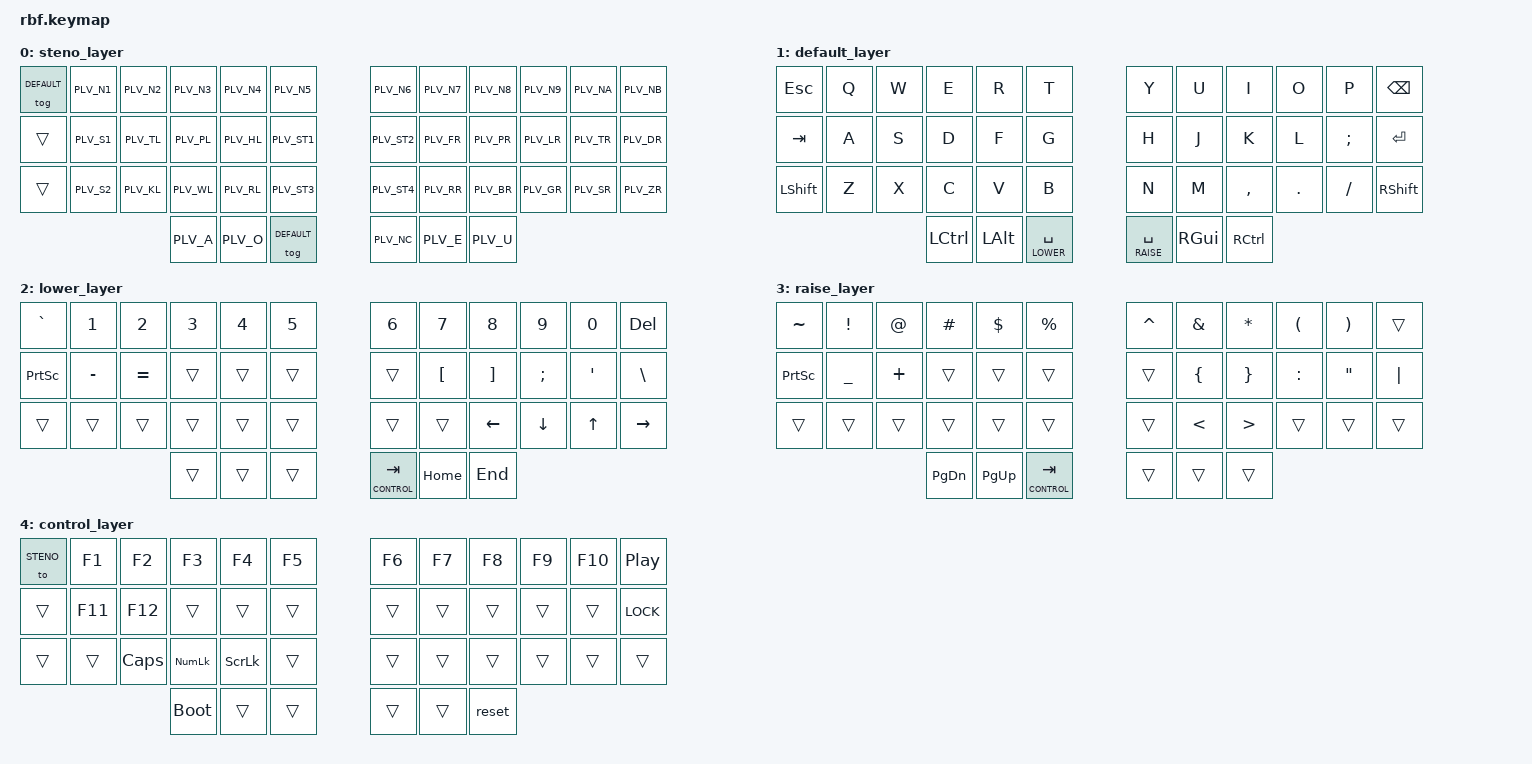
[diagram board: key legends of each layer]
/*
 * Copyright (c) 2021 The ZMK Contributors
 *
 * SPDX-License-Identifier: MIT
 */
#include <behaviors.dtsi>
#include <dt-bindings/zmk/keys.h>
// #include <dt-bindings/zmk/outputs.h>

#define STENO 0
#define DEFAULT 1
#define LOWER   2
#define RAISE   3
#define CONTROL 4

// #define DEFAULT 0
// #define LOWER   1
// #define RAISE   2
// #define CONTROL 3

/ {
	keymap {
		compatible = "zmk,keymap";
// 		    | SW1  | SW2  | SW3  | SW4  | SW5  | SW6  |   | SW6  | SW5  | SW4  | SW3  | SW2  | SW1  |
// 		    | SW7  | SW8  | SW9  | SW10 | SW11 | SW12 |   | SW12 | SW11 | SW10 | SW9  | SW8  | SW7  |
// 		    | SW13 | SW14 | SW15 | SW16 | SW17 | SW18 |   | SW18 | SW17 | SW16 | SW15 | SW14 | SW13 |
// 		                         | SW19 | SW20 | SW21 |   | SW21 | SW20 | SW19 |
//
		steno_layer {
			bindings = <
				&tog DEFAULT &kp PLV_N1 &kp PLV_N2 &kp PLV_N3 &kp PLV_N4 &kp PLV_N5       &kp PLV_N6  &kp PLV_N7 &kp PLV_N8 &kp PLV_N9 &kp PLV_NA &kp PLV_NB                
				&trans       &kp PLV_S1 &kp PLV_TL &kp PLV_PL &kp PLV_HL &kp PLV_ST1      &kp PLV_ST2 &kp PLV_FR &kp PLV_PR &kp PLV_LR &kp PLV_TR &kp PLV_DR
                &trans       &kp PLV_S2 &kp PLV_KL &kp PLV_WL &kp PLV_RL &kp PLV_ST3      &kp PLV_ST4 &kp PLV_RR &kp PLV_BR &kp PLV_GR &kp PLV_SR &kp PLV_ZR
													  &kp PLV_A  &kp PLV_O  &tog DEFAULT       &kp PLV_NC  &kp PLV_E  &kp PLV_U
		    >;
		};
		
		default_layer {
			bindings = <
                &kp ESC   &kp Q &kp W &kp E &kp R &kp T     &kp Y &kp U &kp I     &kp O   &kp P    &kp BSPC
                &kp TAB   &kp A &kp S &kp D &kp F &kp G     &kp H &kp J &kp K     &kp L   &kp SEMI &kp ENTER
                &kp LSHFT &kp Z &kp X &kp C &kp V &kp B     &kp N &kp M &kp COMMA &kp DOT &kp FSLH &kp RSHFT
                &kp LCTRL    &kp LALT   &lt LOWER SPACE     &lt RAISE SPACE   &kp RGUI    &kp RCTRL
			>;
		};
		
		lower_layer {
			bindings = <
                &kp GRAVE &kp N1    &kp N2     &kp N3  &kp N4  &kp N5     &kp N6  &kp N7   &kp N8   &kp N9   &kp N0   &kp DEL
                &kp PSCRN &kp MINUS &kp EQUAL  &trans  &trans  &trans     &trans  &kp LBKT &kp RBKT &kp SEMI &kp APOS &kp BSLH
                &trans    &trans    &trans     &trans  &trans  &trans     &trans  &trans   &kp LEFT &kp DOWN &kp UP   &kp RIGHT
                                               &trans &trans   &trans     &lt CONTROL TAB  &kp HOME &kp END
			>;
		};
        
        raise_layer {
			bindings = <
                &kp TILDE &kp EXCL  &kp AT   &kp HASH &kp DLLR &kp PRCNT     &kp CARET &kp AMPS &kp STAR &kp LPAR  &kp RPAR &trans
                &kp PSCRN &kp UNDER &kp PLUS &trans   &trans   &trans        &trans    &kp LBRC &kp RBRC &kp COLON &kp DQT  &kp PIPE
                &trans    &trans    &trans   &trans   &trans   &trans        &trans    &kp LT   &kp GT   &trans    &trans   &trans					  
                                     &kp PG_DN &kp PG_UP &lt CONTROL TAB     &trans  &trans  &trans
			>;
		};
        
        control_layer {
			bindings = <
                &to STENO &kp F1  &kp F2   &kp F3     &kp F4   &kp F5     &kp F6  &kp F7 &kp F8 &kp F9 &kp F10 &kp C_PP
                &trans    &kp F11 &kp F12  &trans     &trans   &trans     &trans  &trans &trans &trans &trans  &kp K_LOCK
                &trans    &trans  &kp CAPS &kp KP_NUM &kp SLCK &trans     &trans  &trans &trans &trans &trans  &trans
				                            &bootloader &trans &trans     &trans &trans &reset
			>;
		};
	};
};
